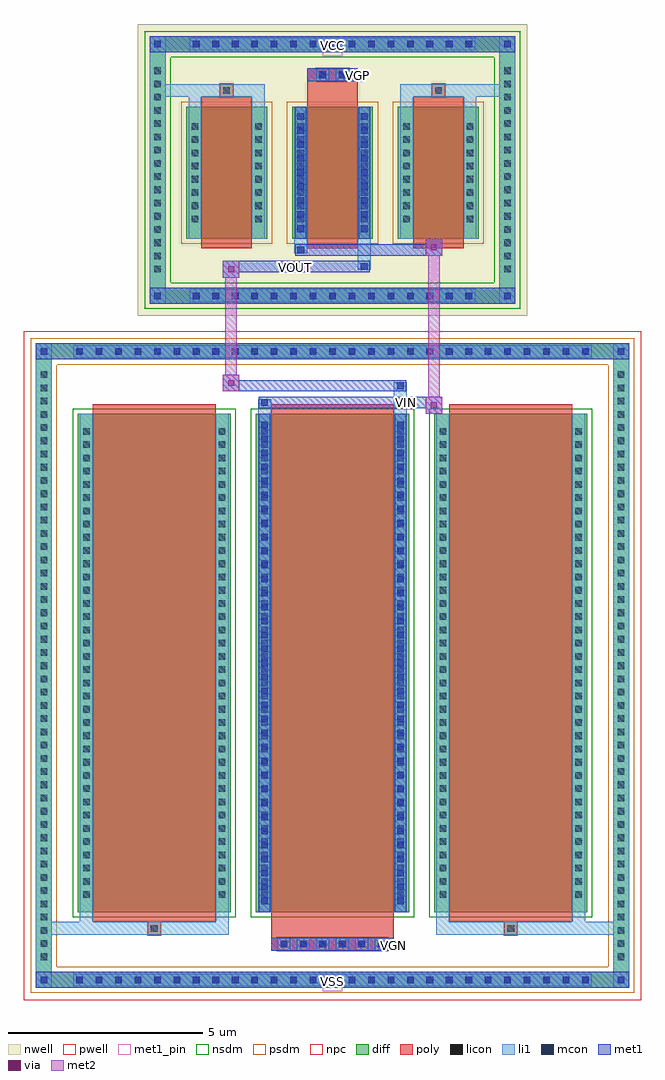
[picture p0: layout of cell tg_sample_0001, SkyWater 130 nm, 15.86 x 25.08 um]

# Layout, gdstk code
import gdstk
lib = gdstk.Library(unit=1e-6, precision=5e-09)
def R(c, l, rs):  # rectangles x0, y0, x1, y1
    for r in rs: c.add(gdstk.rectangle(r[:2], r[2:], *l))
def A(c, l, x, y, w, h, nx, ny, dx, dy):  # array of equal rectangles
    R(c, l, [(x+i*dx, y+j*dy, x+i*dx+w, y+j*dy+h) for i in range(nx) for j in range(ny)])
def P(c, l, *ps):  # polygons
    for p in ps: c.add(gdstk.Polygon(p, *l))
nwell = (64, 20)
pwell = (64, 44)
diff = (65, 20)
poly = (66, 20)
licon = (66, 44)
li1 = (67, 20)
mcon = (67, 44)
met1_pin = (68, 16)
met1 = (68, 20)
via = (68, 44)
met2 = (69, 20)
nsdm = (93, 44)
psdm = (94, 20)
npc = (95, 20)

tg_sample_0001 = lib.new_cell('tg_sample_0001')
R(tg_sample_0001, nwell, [(-5.01,8.99,5.01,16.49)])
R(tg_sample_0001, pwell, [(-7.93,-8.59,7.93,8.59)])
A(tg_sample_0001, diff, -6.705, -8.28, 0.41, 0.41, 27, 2, 0.5, 16.15)
A(tg_sample_0001, diff, -7.62, -7.685, 0.41, 0.41, 1, 45, 0, 0.34)
A(tg_sample_0001, diff, 7.21, -7.685, 0.41, 0.41, 1, 45, 0, 0.34)
A(tg_sample_0001, diff, -6.55, -6.335, 3.94, 12.81, 3, 1, 4.58, 0)
A(tg_sample_0001, diff, -3.705, 9.3, 0.41, 0.41, 15, 2, 0.5, 6.47)
A(tg_sample_0001, diff, -4.7, 9.985, 0.41, 0.41, 1, 16, 0, 0.34)
A(tg_sample_0001, diff, 4.29, 9.985, 0.41, 0.41, 1, 16, 0, 0.34)
A(tg_sample_0001, diff, -3.76, 10.975, 2.08, 3.39, 3, 1, 2.72, 0)
R(tg_sample_0001, diff, [(-6.705,-8.28,6.705,-7.87), (-7.62,-7.685,-7.21,7.685), (7.21,-7.685,7.62,7.685), (-6.705,7.87,6.705,8.28), (-3.705,9.3,3.705,9.71), (-4.7,9.985,-4.29,15.495), (4.29,9.985,4.7,15.495), (-3.705,15.77,3.705,16.18)])
P(tg_sample_0001, diff, [(7.62,8.28),(-7.62,8.28),(-7.62,-7.87),(-7.21,-7.87),(-7.21,7.87),(7.21,7.87),(7.21,-7.87),(-7.21,-7.87),(-7.62,-7.87),(-7.62,-8.28),(7.62,-8.28)],
  [(4.7,9.3),(-4.7,9.3),(-4.7,15.77),(-4.29,15.77),(-4.29,9.71),(4.29,9.71),(4.29,15.77),(-4.29,15.77),(-4.7,15.77),(-4.7,16.18),(4.7,16.18)])
A(tg_sample_0001, poly, -1.415, -7.32, 0.33, 0.33, 6, 1, 0.5, 0)
A(tg_sample_0001, poly, -6.16, -6.585, 3.16, 13.31, 3, 1, 4.58, 0)
A(tg_sample_0001, poly, -3.37, 10.725, 1.3, 3.89, 3, 1, 2.72, 0)
R(tg_sample_0001, poly, [(-1.58,-7.32,1.58,-6.99), (-1.58,-6.99,1.58,-6.585), (-4.745,-6.915,-4.415,-6.585), (-4.745,-6.915,-4.415,-6.585), (4.415,-6.915,4.745,-6.585), (4.415,-6.915,4.745,-6.585), (-2.885,14.615,-2.555,14.945), (-2.885,14.615,-2.555,14.945), (-0.65,14.615,0.65,15.02), (2.555,14.615,2.885,14.945), (2.555,14.615,2.885,14.945), (-0.65,15.02,0.65,15.35), (-0.415,15.02,-0.085,15.35), (0.085,15.02,0.415,15.35)])
A(tg_sample_0001, licon, -6.585, -8.16, 0.17, 0.17, 27, 2, 0.5, 16.15)
A(tg_sample_0001, licon, -7.5, -7.565, 0.17, 0.17, 1, 45, 0, 0.34)
A(tg_sample_0001, licon, 7.33, -7.565, 0.17, 0.17, 1, 45, 0, 0.34)
A(tg_sample_0001, licon, -1.335, -7.24, 0.17, 0.17, 6, 1, 0.5, 0)
A(tg_sample_0001, licon, -6.41, -5.965, 0.17, 0.17, 1, 36, 0, 0.34)
A(tg_sample_0001, licon, -2.92, -5.965, 0.17, 0.17, 1, 36, 0, 0.34)
A(tg_sample_0001, licon, -1.83, -5.965, 0.17, 0.17, 1, 36, 0, 0.34)
A(tg_sample_0001, licon, 1.66, -5.965, 0.17, 0.17, 1, 36, 0, 0.34)
A(tg_sample_0001, licon, 2.75, -5.965, 0.17, 0.17, 1, 36, 0, 0.34)
A(tg_sample_0001, licon, 6.24, -5.965, 0.17, 0.17, 1, 36, 0, 0.34)
A(tg_sample_0001, licon, -3.585, 9.42, 0.17, 0.17, 15, 2, 0.5, 6.47)
A(tg_sample_0001, licon, -4.58, 10.105, 0.17, 0.17, 1, 16, 0, 0.34)
A(tg_sample_0001, licon, 4.41, 10.105, 0.17, 0.17, 1, 16, 0, 0.34)
A(tg_sample_0001, licon, -3.62, 11.395, 0.17, 0.17, 1, 8, 0, 0.34)
A(tg_sample_0001, licon, -1.99, 11.395, 0.17, 0.17, 1, 8, 0, 0.34)
A(tg_sample_0001, licon, -0.9, 11.395, 0.17, 0.17, 1, 8, 0, 0.34)
A(tg_sample_0001, licon, 0.73, 11.395, 0.17, 0.17, 1, 8, 0, 0.34)
A(tg_sample_0001, licon, 1.82, 11.395, 0.17, 0.17, 1, 8, 0, 0.34)
A(tg_sample_0001, licon, 3.45, 11.395, 0.17, 0.17, 1, 8, 0, 0.34)
R(tg_sample_0001, licon, [(-4.665,-6.835,-4.495,-6.665), (4.495,-6.835,4.665,-6.665), (-2.805,14.695,-2.635,14.865), (2.635,14.695,2.805,14.865), (-0.335,15.1,-0.165,15.27), (0.165,15.1,0.335,15.27)])
A(tg_sample_0001, li1, -6.665, -8.24, 0.33, 0.33, 27, 2, 0.5, 16.15)
A(tg_sample_0001, li1, -7.58, -7.645, 0.33, 0.33, 1, 45, 0, 0.34)
A(tg_sample_0001, li1, 7.25, -7.645, 0.33, 0.33, 1, 45, 0, 0.34)
A(tg_sample_0001, li1, -1.415, -7.32, 0.33, 0.33, 6, 1, 0.5, 0)
A(tg_sample_0001, li1, -1.83, -6.135, 0.17, 0.17, 1, 35, 0, 0.36)
A(tg_sample_0001, li1, 1.66, -6.135, 0.17, 0.17, 1, 35, 0, 0.36)
A(tg_sample_0001, li1, -6.49, -6.045, 0.33, 0.33, 1, 36, 0, 0.34)
A(tg_sample_0001, li1, -3, -6.045, 0.33, 0.33, 1, 36, 0, 0.34)
A(tg_sample_0001, li1, -1.91, -6.045, 0.33, 0.33, 1, 36, 0, 0.34)
A(tg_sample_0001, li1, 1.58, -6.045, 0.33, 0.33, 1, 36, 0, 0.34)
A(tg_sample_0001, li1, 2.67, -6.045, 0.33, 0.33, 1, 36, 0, 0.34)
A(tg_sample_0001, li1, 6.16, -6.045, 0.33, 0.33, 1, 36, 0, 0.34)
A(tg_sample_0001, li1, -3.665, 9.34, 0.33, 0.33, 15, 2, 0.5, 6.47)
A(tg_sample_0001, li1, -4.66, 10.025, 0.33, 0.33, 1, 16, 0, 0.34)
A(tg_sample_0001, li1, 4.33, 10.025, 0.33, 0.33, 1, 16, 0, 0.34)
A(tg_sample_0001, li1, -0.9, 11.145, 0.17, 0.17, 1, 9, 0, 0.36)
A(tg_sample_0001, li1, 0.73, 11.145, 0.17, 0.17, 1, 9, 0, 0.36)
A(tg_sample_0001, li1, -3.7, 11.315, 0.33, 0.33, 1, 8, 0, 0.34)
A(tg_sample_0001, li1, -2.07, 11.315, 0.33, 0.33, 1, 8, 0, 0.34)
A(tg_sample_0001, li1, -0.98, 11.315, 0.33, 0.33, 1, 8, 0, 0.34)
A(tg_sample_0001, li1, 0.65, 11.315, 0.33, 0.33, 1, 8, 0, 0.34)
A(tg_sample_0001, li1, 1.74, 11.315, 0.33, 0.33, 1, 8, 0, 0.34)
A(tg_sample_0001, li1, 3.37, 11.315, 0.33, 0.33, 1, 8, 0, 0.34)
R(tg_sample_0001, li1, [(-7.62,-8.28,-7.21,-7.87), (7.21,-8.28,7.62,-7.87), (-6.665,-8.24,6.665,-7.91), (-7.5,-8.16,-7.33,-7.99), (-7.5,-8.16,-7.33,-7.99), (7.33,-8.16,7.5,-7.99), (7.33,-8.16,7.5,-7.99), (-7.62,-7.87,-7.21,7.87), (7.21,-7.87,7.62,7.87), (-7.62,-6.915,-4.745,-6.585), (-6.49,-6.915,-4.745,-6.585), (-6.49,-6.915,-6.16,-6.335), (-4.745,-6.915,-4.415,-6.585), (-4.415,-6.915,-2.67,-6.585), (-3,-6.915,-2.67,-6.335), (2.67,-6.915,4.415,-6.585), (2.67,-6.915,3,-6.335), (4.415,-6.915,4.745,-6.585), (4.415,-6.915,7.62,-6.585), (4.745,-6.915,6.49,-6.585), (6.16,-6.915,6.49,-6.335), (-6.49,-6.335,-6.16,6.475), (-3,-6.335,-2.67,6.475), (-1.91,-6.335,-1.58,6.475), (1.58,-6.335,1.91,6.475), (2.67,-6.335,3,6.475), (6.16,-6.335,6.49,6.475), (-1.83,-6.135,-1.66,6.275), (1.66,-6.135,1.83,6.275), (-1.91,6.475,-1.58,6.85), (1.58,6.475,1.91,7.28), (-1.83,6.68,-1.66,6.85), (1.66,7.11,1.83,7.28), (-7.62,7.87,-7.21,8.28), (7.21,7.87,7.62,8.28), (-6.665,7.91,6.665,8.24), (-7.5,7.99,-7.33,8.16), (-7.5,7.99,-7.33,8.16), (7.33,7.99,7.5,8.16), (7.33,7.99,7.5,8.16), (-4.7,9.3,-4.29,9.71), (4.29,9.3,4.7,9.71), (-3.665,9.34,3.665,9.67), (-4.58,9.42,-4.41,9.59), (-4.58,9.42,-4.41,9.59), (4.41,9.42,4.58,9.59), (4.41,9.42,4.58,9.59), (-4.7,9.71,-4.29,15.77), (4.29,9.71,4.7,15.77), (0.65,10.17,0.98,10.975), (0.73,10.17,0.9,10.34), (-0.98,10.6,-0.65,10.975), (-0.9,10.6,-0.73,10.77), (-3.7,10.975,-3.37,14.365), (-2.07,10.975,-1.74,14.365), (-0.98,10.975,-0.65,14.365), (0.65,10.975,0.98,14.365), (1.74,10.975,2.07,14.365), (3.37,10.975,3.7,14.365), (-0.9,11.145,-0.73,14.195), (0.73,11.145,0.9,14.195), (-3.7,14.365,-3.37,14.945), (-2.07,14.365,-1.74,14.945), (1.74,14.365,2.07,14.945), (3.37,14.365,3.7,14.945), (-4.7,14.615,-2.885,14.945), (-3.7,14.615,-2.885,14.945), (-2.885,14.615,-2.555,14.945), (-2.555,14.615,-1.74,14.945), (1.74,14.615,2.555,14.945), (2.555,14.615,2.885,14.945), (2.555,14.615,4.7,14.945), (2.885,14.615,3.7,14.945), (-0.415,15.02,-0.085,15.35), (0.085,15.02,0.415,15.35), (-4.7,15.77,-4.29,16.18), (4.29,15.77,4.7,16.18), (-3.665,15.81,3.665,16.14), (-4.58,15.89,-4.41,16.06), (-4.58,15.89,-4.41,16.06), (4.41,15.89,4.58,16.06), (4.41,15.89,4.58,16.06)])
A(tg_sample_0001, mcon, -6.585, -8.16, 0.17, 0.17, 27, 2, 0.5, 16.15)
A(tg_sample_0001, mcon, -1.335, -7.24, 0.17, 0.17, 6, 1, 0.5, 0)
A(tg_sample_0001, mcon, -1.83, -6.135, 0.17, 0.17, 1, 35, 0, 0.36)
A(tg_sample_0001, mcon, 1.66, -6.135, 0.17, 0.17, 1, 35, 0, 0.36)
A(tg_sample_0001, mcon, -3.585, 9.42, 0.17, 0.17, 15, 2, 0.5, 6.47)
A(tg_sample_0001, mcon, -0.9, 11.145, 0.17, 0.17, 1, 9, 0, 0.36)
A(tg_sample_0001, mcon, 0.73, 11.145, 0.17, 0.17, 1, 9, 0, 0.36)
R(tg_sample_0001, mcon, [(-7.5,-8.16,-7.33,-7.99), (7.33,-8.16,7.5,-7.99), (-1.83,6.68,-1.66,6.85), (1.66,7.11,1.83,7.28), (-7.5,7.99,-7.33,8.16), (7.33,7.99,7.5,8.16), (-4.58,9.42,-4.41,9.59), (4.41,9.42,4.58,9.59), (0.73,10.17,0.9,10.34), (-0.9,10.6,-0.73,10.77), (-0.335,15.1,-0.165,15.27), (0.165,15.1,0.335,15.27), (-4.58,15.89,-4.41,16.06), (4.41,15.89,4.58,16.06)])
R(tg_sample_0001, met1_pin, [(-0.25,-8.37,0.25,-7.87), (1.445,-7.32,1.715,-7.05), (1.755,6.62,2.025,6.89), (-1.095,10.11,-0.825,10.38), (0.515,15.02,0.785,15.29), (-0.25,15.68,0.25,16.18)])
A(tg_sample_0001, met1, -6.645, -8.22, 0.29, 0.29, 27, 2, 0.5, 16.15)
A(tg_sample_0001, met1, -1.395, -7.3, 0.29, 0.29, 6, 1, 0.5, 0)
A(tg_sample_0001, met1, -1.89, -6.195, 0.29, 0.29, 1, 35, 0, 0.36)
A(tg_sample_0001, met1, 1.6, -6.195, 0.29, 0.29, 1, 35, 0, 0.36)
A(tg_sample_0001, met1, -3.645, 9.36, 0.29, 0.29, 15, 2, 0.5, 6.47)
A(tg_sample_0001, met1, -0.96, 11.085, 0.29, 0.29, 1, 9, 0, 0.36)
A(tg_sample_0001, met1, 0.67, 11.085, 0.29, 0.29, 1, 9, 0, 0.36)
R(tg_sample_0001, met1, [(-7.62,-8.28,-7.21,-7.87), (-7.62,-8.28,-7.21,-7.87), (-7.21,-8.28,7.21,-7.87), (7.21,-8.28,7.62,-7.87), (7.21,-8.28,7.62,-7.87), (-7.56,-8.22,-7.27,-7.93), (7.27,-8.22,7.56,-7.93), (-1.58,-7.32,1.58,-6.99), (-1.89,-6.335,-1.6,6.475), (1.6,-6.335,1.89,6.475), (2.39,6.48,2.82,6.91), (-1.89,6.62,-1.6,6.91), (-1.89,6.62,1.89,6.91), (1.89,6.62,2.82,6.91), (-2.82,7.05,-1.89,7.34), (-2.82,7.05,-2.39,7.48), (-1.89,7.05,1.89,7.34), (1.6,7.05,1.89,7.34), (-7.62,7.87,-7.21,8.28), (-7.62,7.87,-7.21,8.28), (-7.21,7.87,7.21,8.28), (7.21,7.87,7.62,8.28), (7.21,7.87,7.62,8.28), (-7.56,7.93,-7.27,8.22), (7.27,7.93,7.56,8.22), (-4.7,9.3,-4.29,9.71), (-4.7,9.3,-4.29,9.71), (-4.29,9.3,4.29,9.71), (4.29,9.3,4.7,9.71), (4.29,9.3,4.7,9.71), (-4.64,9.36,-4.35,9.65), (4.35,9.36,4.64,9.65), (-2.82,9.97,-2.39,10.4), (-2.82,10.11,-0.96,10.4), (-0.96,10.11,0.96,10.4), (0.67,10.11,0.96,10.4), (-0.96,10.54,-0.67,10.83), (-0.96,10.54,0.96,10.83), (0.96,10.54,2.82,10.83), (2.39,10.54,2.82,10.97), (-0.96,10.975,-0.67,14.365), (0.67,10.975,0.96,14.365), (-0.65,15.02,0.65,15.35), (-0.395,15.04,-0.105,15.33), (0.105,15.04,0.395,15.33), (-4.7,15.77,-4.29,16.18), (-4.7,15.77,-4.29,16.18), (-4.29,15.77,4.29,16.18), (4.29,15.77,4.7,16.18), (4.29,15.77,4.7,16.18), (-4.64,15.83,-4.35,16.12), (4.35,15.83,4.64,16.12)])
R(tg_sample_0001, via, [(2.53,6.62,2.68,6.77), (-2.68,7.19,-2.53,7.34), (-2.68,10.11,-2.53,10.26), (2.53,10.68,2.68,10.83)])
R(tg_sample_0001, met2, [(2.39,6.48,2.82,6.91), (2.46,6.48,2.75,10.97), (2.75,6.48,2.82,6.91), (2.44,6.53,2.77,6.86), (-2.82,7.05,-2.39,7.48), (-2.75,7.05,-2.46,10.4), (-2.46,7.05,-2.39,7.48), (-2.77,7.1,-2.44,7.43), (-2.82,9.97,-2.39,10.4), (-2.46,9.97,-2.39,10.4), (-2.77,10.02,-2.44,10.35), (2.39,10.54,2.82,10.97), (2.75,10.54,2.82,10.97), (2.44,10.59,2.77,10.92)])
A(tg_sample_0001, nsdm, -6.68, -6.465, 4.2, 13.07, 3, 1, 4.58, 0)
P(tg_sample_0001, nsdm, [(4.83,9.17),(-4.83,9.17),(-4.83,15.64),(-4.16,15.64),(-4.16,9.84),(4.16,9.84),(4.16,15.64),(-4.16,15.64),(-4.83,15.64),(-4.83,16.31),(4.83,16.31)])
A(tg_sample_0001, psdm, -3.89, 10.845, 2.34, 3.65, 3, 1, 2.72, 0)
P(tg_sample_0001, psdm, [(7.75,8.41),(-7.75,8.41),(-7.75,-7.74),(-7.08,-7.74),(-7.08,7.74),(7.08,7.74),(7.08,-7.74),(-7.08,-7.74),(-7.75,-7.74),(-7.75,-8.41),(7.75,-8.41)])
A(tg_sample_0001, npc, -1.435, -7.34, 0.37, 0.37, 6, 1, 0.5, 0)
R(tg_sample_0001, npc, [(-1.435,-7.34,-0.565,-6.97), (-1.435,-7.34,-0.565,-6.97), (-0.935,-7.34,-0.065,-6.97), (-0.935,-7.34,-0.065,-6.97), (-0.435,-7.34,0.435,-6.97), (-0.435,-7.34,0.435,-6.97), (0.065,-7.34,0.935,-6.97), (0.065,-7.34,0.935,-6.97), (0.565,-7.34,1.435,-6.97), (0.565,-7.34,1.435,-6.97), (-4.765,-6.935,-4.395,-6.565), (4.395,-6.935,4.765,-6.565), (-2.905,14.595,-2.535,14.965), (2.535,14.595,2.905,14.965), (-0.435,15,-0.065,15.37), (-0.435,15,0.435,15.37), (-0.435,15,0.435,15.37), (0.065,15,0.435,15.37)])
tg_sample_0001.add(gdstk.Label('VIN', (1.89,6.755), layer=68, texttype=5))
tg_sample_0001.add(gdstk.Label('VGN', (1.58,-7.185), layer=68, texttype=5))
tg_sample_0001.add(gdstk.Label('VGP', (0.65,15.155), layer=68, texttype=5))
tg_sample_0001.add(gdstk.Label('VSS', (0,-8.12), layer=68, texttype=5))
tg_sample_0001.add(gdstk.Label('VCC', (0,15.93), layer=68, texttype=5))
tg_sample_0001.add(gdstk.Label('VOUT', (-0.96,10.245), layer=68, texttype=5))

lib.write_gds('tg_sample_0001.gds')
